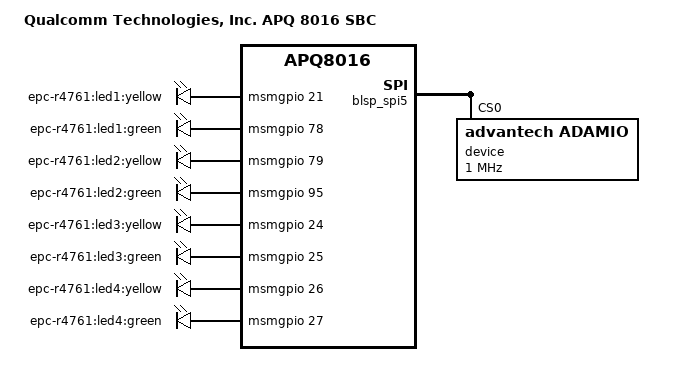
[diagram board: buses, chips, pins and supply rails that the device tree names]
/*
 * Copyright (c) 2015, The Linux Foundation. All rights reserved.
 *
 * This program is free software; you can redistribute it and/or modify
 * it under the terms of the GNU General Public License version 2 and
 * only version 2 as published by the Free Software Foundation.
 *
 * This program is distributed in the hope that it will be useful,
 * but WITHOUT ANY WARRANTY; without even the implied warranty of
 * MERCHANTABILITY or FITNESS FOR A PARTICULAR PURPOSE.  See the
 * GNU General Public License for more details.
 */

/dts-v1/;
#include "advantech-apq8016-sbc.dtsi"
#include "advantech-epc-r4761-soc-pins.dtsi"

/ {
	model = "Qualcomm Technologies, Inc. APQ 8016 SBC";
	compatible = "qcom,apq8016-sbc", "qcom,apq8016", "qcom,sbc";

	board {
		compatible = "proc-board";
		board-type = "EPC-R4761";
		board-cpu = "Quad 64-bit";
	};

	soc {
		leds {
			pinctrl-0 = <&msmgpio_leds>,
					<&pm8916_mpps_leds>;

			led@3 {
				label = "epc-r4761:led1:yellow";
				gpios = <&msmgpio 21 GPIO_ACTIVE_HIGH>;
				linux,default-trigger = "heartbeat";
				default-state = "off";
			};

			led@4 {
				label = "epc-r4761:led1:green";
				gpios = <&msmgpio 78 GPIO_ACTIVE_HIGH>;
				linux,default-trigger = "none";
				default-state = "off";
			};

			led@5 {
				label = "epc-r4761:led2:yellow";
				gpios = <&msmgpio 79 GPIO_ACTIVE_HIGH>;
				linux,default-trigger = "none";
				default-state = "off";
			};

			led@6 {
				label = "epc-r4761:led2:green";
				gpios = <&msmgpio 95 GPIO_ACTIVE_HIGH>;
				linux,default-trigger = "heartbeat";
				default-state = "off";
			};

			led@7 {
				label = "epc-r4761:led3:yellow";
				gpios = <&msmgpio 24 GPIO_ACTIVE_HIGH>;
				linux,default-trigger = "none";
				default-state = "on";
			};

			led@8 {
				label = "epc-r4761:led3:green";
				gpios = <&msmgpio 25 GPIO_ACTIVE_HIGH>;
				linux,default-trigger = "none";
				default-state = "off";
			};

			led@9 {
				label = "epc-r4761:led4:yellow";
				gpios = <&msmgpio 26 GPIO_ACTIVE_HIGH>;
				linux,default-trigger = "none";
				default-state = "off";
			};

			led@10 {
				label = "epc-r4761:led4:green";
				gpios = <&msmgpio 27 GPIO_ACTIVE_HIGH>;
				linux,default-trigger = "none";
				default-state = "on";
			};
		};
	};
};

/* Advantech IAG */
&blsp_spi5 {
	device@0 {
		compatible = "advantech,adamIO";
		spi-max-frequency = <1000000>; /* 1 MHz */
		reg = <0>;
	};
};
